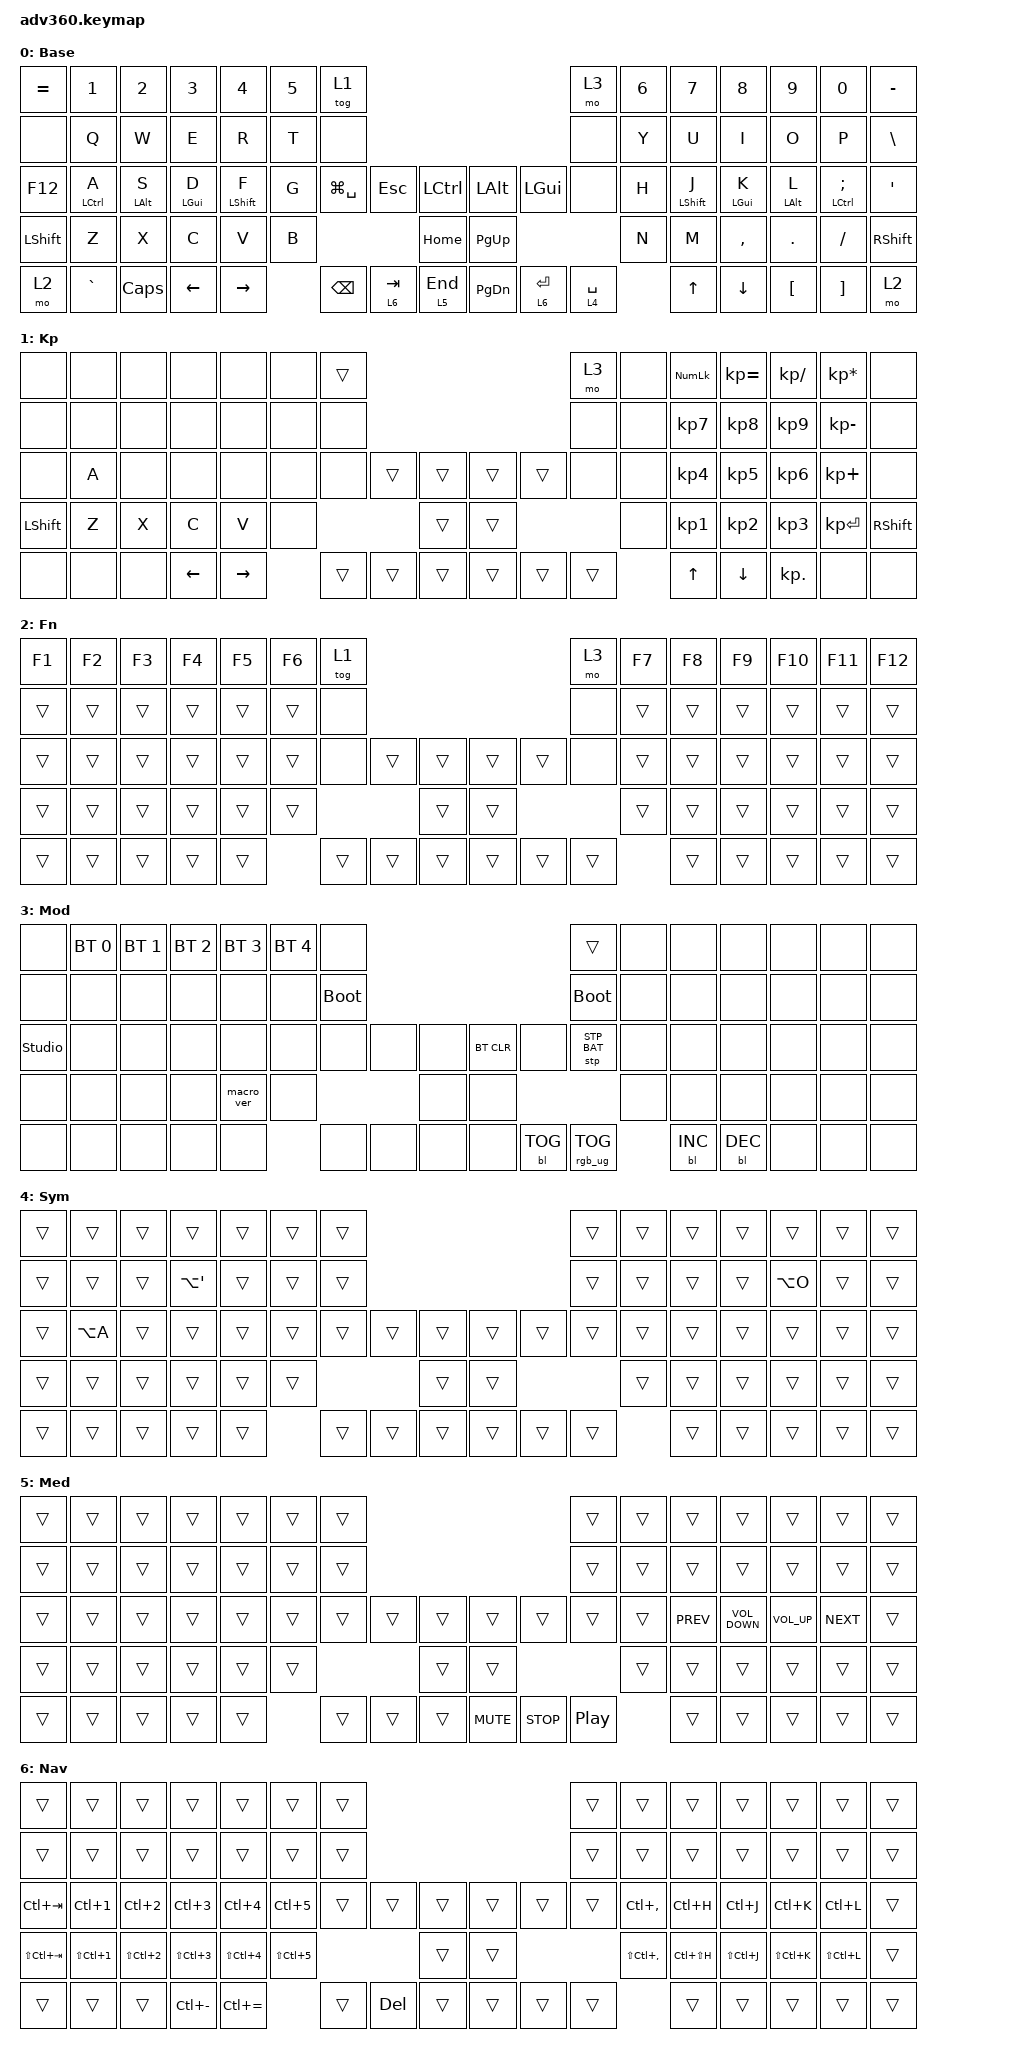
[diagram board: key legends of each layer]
#include <dt-bindings/zmk/stp.h>
#include <behaviors.dtsi>
#include <dt-bindings/zmk/backlight.h>
#include <dt-bindings/zmk/bt.h>
#include <dt-bindings/zmk/keys.h>
#include <dt-bindings/zmk/rgb.h>

/ {
    behaviors {
        #include "macros.dtsi"
      #include "version.dtsi"

        hm: homerow_mods {
            compatible = "zmk,behavior-hold-tap";
            label = "HOMEROW_MODS";
            #binding-cells = <2>;
            tapping-term-ms = <200>;
            quick_tap_ms = <175>;
            flavor = "tap-preferred";
            bindings = <&kp>, <&kp>;
        };
    };

    keymap {
        compatible = "zmk,keymap";

        default_layer {
            display-name = "Base";
            bindings = <
&kp EQUAL  &kp N1       &kp N2          &kp N3      &kp N4            &kp N5  &tog 1                                                               &mo 3        &kp N6  &kp N7            &kp N8      &kp N9          &kp N0          &kp MINUS
&none      &kp Q        &kp W           &kp E       &kp R             &kp T   &none                                                                &none        &kp Y   &kp U             &kp I       &kp O           &kp P           &kp BSLH
&kp F12    &hm LCTRL A  &hm LEFT_ALT S  &hm LGUI D  &hm LEFT_SHIFT F  &kp G   &kp LG(SPACE)  &kp ESCAPE  &kp LCTRL      &kp LEFT_ALT  &kp LGUI     &none        &kp H   &hm LEFT_SHIFT J  &hm LGUI K  &hm LEFT_ALT L  &hm LCTRL SEMI  &kp SQT
&kp LSHFT  &kp Z        &kp X           &kp C       &kp V             &kp B                              &kp HOME       &kp PG_UP                               &kp N   &kp M             &kp COMMA   &kp DOT         &kp FSLH        &kp RSHFT
&mo 2      &kp GRAVE    &kp CAPS        &kp LEFT    &kp RIGHT                 &kp BSPC       &lt 6 TAB   &lt 5 END      &kp PG_DN     &lt 6 ENTER  &lt 4 SPACE          &kp UP            &kp DOWN    &kp LBKT        &kp RBKT        &mo 2
            >;
        };

        keypad {
            display-name = "Kp";
            bindings = <
&none      &none  &none  &none     &none      &none  &trans                                      &mo 3   &none  &kp KP_NUM  &kp KP_EQUAL  &kp KP_DIVIDE  &kp KP_MULTIPLY  &none
&none      &none  &none  &none     &none      &none  &none                                       &none   &none  &kp KP_N7   &kp KP_N8     &kp KP_N9      &kp KP_MINUS     &none
&none      &kp A  &none  &none     &none      &none  &none   &trans  &trans      &trans  &trans  &none   &none  &kp KP_N4   &kp KP_N5     &kp KP_N6      &kp KP_PLUS      &none
&kp LSHFT  &kp Z  &kp X  &kp C     &kp V      &none                  &trans      &trans                  &none  &kp KP_N1   &kp KP_N2     &kp KP_N3      &kp KP_ENTER     &kp RSHFT
&none      &none  &none  &kp LEFT  &kp RIGHT         &trans  &trans  &trans      &trans  &trans  &trans         &kp UP      &kp DOWN      &kp KP_DOT     &none            &none
            >;
        };

        fn {
            display-name = "Fn";
            bindings = <
&kp F1  &kp F2  &kp F3  &kp F4  &kp F5  &kp F6  &tog 1                                      &mo 3   &kp F7  &kp F8  &kp F9  &kp F10  &kp F11  &kp F12
&trans  &trans  &trans  &trans  &trans  &trans  &none                                       &none   &trans  &trans  &trans  &trans   &trans   &trans
&trans  &trans  &trans  &trans  &trans  &trans  &none   &trans  &trans      &trans  &trans  &none   &trans  &trans  &trans  &trans   &trans   &trans
&trans  &trans  &trans  &trans  &trans  &trans                  &trans      &trans                  &trans  &trans  &trans  &trans   &trans   &trans
&trans  &trans  &trans  &trans  &trans          &trans  &trans  &trans      &trans  &trans  &trans          &trans  &trans  &trans   &trans   &trans
            >;
        };

        mod {
            display-name = "Mod";
            bindings = <
&none           &bt BT_SEL 0  &bt BT_SEL 1  &bt BT_SEL 2  &bt BT_SEL 3  &bt BT_SEL 4  &none                                                  &trans           &none  &none       &none       &none  &none  &none
&none           &none         &none         &none         &none         &none         &bootloader                                            &bootloader      &none  &none       &none       &none  &none  &none
&studio_unlock  &none         &none         &none         &none         &none         &none        &none  &none      &bt BT_CLR  &none       &stp STP_BAT     &none  &none       &none       &none  &none  &none
&none           &none         &none         &none         &macro_ver    &none                             &none      &none                                    &none  &none       &none       &none  &none  &none
&none           &none         &none         &none         &none                       &none        &none  &none      &none       &bl BL_TOG  &rgb_ug RGB_TOG         &bl BL_INC  &bl BL_DEC  &none  &none  &none
            >;
        };

        symbol {
            bindings = <
&trans  &trans     &trans  &trans       &trans  &trans  &trans                                      &trans  &trans  &trans  &trans  &trans     &trans  &trans
&trans  &trans     &trans  &kp LA(SQT)  &trans  &trans  &trans                                      &trans  &trans  &trans  &trans  &kp LA(O)  &trans  &trans
&trans  &kp LA(A)  &trans  &trans       &trans  &trans  &trans  &trans  &trans      &trans  &trans  &trans  &trans  &trans  &trans  &trans     &trans  &trans
&trans  &trans     &trans  &trans       &trans  &trans                  &trans      &trans                  &trans  &trans  &trans  &trans     &trans  &trans
&trans  &trans     &trans  &trans       &trans          &trans  &trans  &trans      &trans  &trans  &trans          &trans  &trans  &trans     &trans  &trans
            >;

            label = "Sym";
        };

        media {
            bindings = <
&trans  &trans  &trans  &trans  &trans  &trans  &trans                                              &trans    &trans  &trans      &trans             &trans           &trans      &trans
&trans  &trans  &trans  &trans  &trans  &trans  &trans                                              &trans    &trans  &trans      &trans             &trans           &trans      &trans
&trans  &trans  &trans  &trans  &trans  &trans  &trans  &trans  &trans      &trans      &trans      &trans    &trans  &kp C_PREV  &kp C_VOLUME_DOWN  &kp C_VOLUME_UP  &kp C_NEXT  &trans
&trans  &trans  &trans  &trans  &trans  &trans                  &trans      &trans                            &trans  &trans      &trans             &trans           &trans      &trans
&trans  &trans  &trans  &trans  &trans          &trans  &trans  &trans      &kp C_MUTE  &kp C_STOP  &kp C_PP          &trans      &trans             &trans           &trans      &trans
            >;

            label = "Med";
        };

        navigation {
            bindings = <
&trans           &trans                &trans                &trans                &trans                &trans          &trans                                          &trans  &trans             &trans         &trans         &trans         &trans         &trans
&trans           &trans                &trans                &trans                &trans                &trans          &trans                                          &trans  &trans             &trans         &trans         &trans         &trans         &trans
&kp LC(TAB)      &kp LC(NUMBER_1)      &kp LC(NUMBER_2)      &kp LC(NUMBER_3)      &kp LC(NUMBER_4)      &kp LC(N5)      &trans  &trans      &trans      &trans  &trans  &trans  &kp LC(COMMA)      &kp LC(H)      &kp LC(J)      &kp LC(K)      &kp LC(L)      &trans
&kp LS(LC(TAB))  &kp LS(LC(NUMBER_1))  &kp LS(LC(NUMBER_2))  &kp LS(LC(NUMBER_3))  &kp LS(LC(NUMBER_4))  &kp LS(LC(N5))                      &trans      &trans                  &kp LS(LC(COMMA))  &kp LC(LS(H))  &kp LS(LC(J))  &kp LS(LC(K))  &kp LS(LC(L))  &trans
&trans           &trans                &trans                &kp LC(MINUS)         &kp LC(EQUAL)                         &trans  &kp DELETE  &trans      &trans  &trans  &trans                     &trans         &trans         &trans         &trans         &trans
            >;

            label = "Nav";
        };
    };
};
